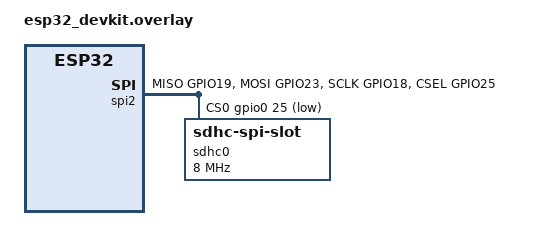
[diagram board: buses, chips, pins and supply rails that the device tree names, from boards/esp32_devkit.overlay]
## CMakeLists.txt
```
cmake_minimum_required(VERSION 3.20.0)

execute_process(
    COMMAND python ${CMAKE_CURRENT_LIST_DIR}/../scripts/generate_zephyr_overlay.py
            --config ${CMAKE_CURRENT_LIST_DIR}/../hardware_config.json
            --expert esp32
            --out ${CMAKE_CURRENT_LIST_DIR}/boards/generated.overlay
    RESULT_VARIABLE OVERLAY_GEN_RESULT
)
if(NOT OVERLAY_GEN_RESULT EQUAL 0)
    message(FATAL_ERROR "Failed to generate esp32_expert_logger devicetree overlay")
endif()

set(DTC_OVERLAY_FILE boards/generated.overlay)

find_package(Zephyr REQUIRED HINTS $ENV{ZEPHYR_BASE})

project(esp32_expert_logger)

target_include_directories(app PRIVATE ../common)
target_sources(app PRIVATE
    src/main.c
    ../common/dataset_commands.c
    ../common/uart_line_parser.c
    ../common/csv_logger.c
)
```

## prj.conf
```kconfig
# Zephyr config for esp32_expert_logger

CONFIG_SERIAL=y
CONFIG_CONSOLE=y
CONFIG_UART_CONSOLE=y
CONFIG_SHELL=y
CONFIG_SHELL_BACKEND_SERIAL=y
CONFIG_LOG=y
CONFIG_PRINTK=y

CONFIG_GPIO=y
CONFIG_I2C=y
CONFIG_SPI=y
CONFIG_ADC=y
CONFIG_SENSOR=y

CONFIG_DISK_ACCESS=y
CONFIG_DISK_DRIVER_SDMMC=y
CONFIG_FILE_SYSTEM=y
CONFIG_FAT_FILESYSTEM_ELM=y
CONFIG_FS_FATFS_LFN=y
CONFIG_SDHC=y
CONFIG_SDMMC_STACK=y

CONFIG_MAIN_STACK_SIZE=4096
CONFIG_HEAP_MEM_POOL_SIZE=8192

CONFIG_NEWLIB_LIBC=y
CONFIG_MINIMAL_LIBC=n
```

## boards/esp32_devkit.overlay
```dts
/* ESP32 DevKit overlay for ESP32 Expert Logger. */
/* SD: SCK GPIO18, MISO GPIO19, MOSI GPIO23, CS GPIO25. */
/* Enable esp32-health-uart after choosing UART pins for the main controller link. */

#include <zephyr/dt-bindings/pinctrl/esp32-pinctrl.h>

&pinctrl {
    esp32_health_spim2_default: esp32_health_spim2_default {
        group1 {
            pinmux = <SPIM2_MISO_GPIO19>,
                     <SPIM2_MOSI_GPIO23>,
                     <SPIM2_SCLK_GPIO18>,
                     <SPIM2_CSEL_GPIO25>;
        };
    };
};

&spi2 {
    status = "okay";
    cs-gpios = <&gpio0 25 GPIO_ACTIVE_LOW>;
    pinctrl-0 = <&esp32_health_spim2_default>;
    pinctrl-names = "default";

    sdhc0: sdhc@0 {
        compatible = "zephyr,sdhc-spi-slot";
        reg = <0>;
        status = "okay";
        spi-max-frequency = <8000000>;

        mmc {
            compatible = "zephyr,sdmmc-disk";
            disk-name = "SD";
            status = "okay";
        };
    };
};

/ {
    aliases {
        /* esp32-health-uart = &uart1; */
    };
};
```

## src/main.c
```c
#include "csv_logger.h"
#include "dataset_commands.h"
#include "uart_line_parser.h"

#include <errno.h>
#include <stdlib.h>
#include <string.h>
#include <zephyr/device.h>
#include <zephyr/kernel.h>
#include <zephyr/logging/log.h>
#include <zephyr/sys/printk.h>

LOG_MODULE_REGISTER(esp32_expert_logger, LOG_LEVEL_INF);

#define ROBOT_ID "porter_dev"
#define EXPERT_NAME "esp32_expert"
#define FAULT_SUBSYSTEM "esp32_controller"
#define LOG_PERIOD_MS 100
#define TELEMETRY_STALE_MS 500
#define UART_BUF_LEN 128
#define LINE_BUF_LEN 384
#define RESET_REASON_LEN 32

struct esp32_health {
	struct k_mutex lock;
	int heartbeat_counter;
	int heartbeat_interval_ms;
	char reset_reason[RESET_REASON_LEN];
	int watchdog_count;
	int packet_error_count;
	int task_loop_time_ms;
	int control_loop_jitter_ms;
	int64_t last_rx_ms;
};

static struct esp32_health telemetry;
static char uart_buffer[UART_BUF_LEN];
static struct uart_line_parser parser;

#if DT_NODE_HAS_STATUS(DT_ALIAS(esp32_health_uart), okay)
static const struct device *const telemetry_uart = DEVICE_DT_GET(DT_ALIAS(esp32_health_uart));
#else
static const struct device *const telemetry_uart;
#endif

static const struct dataset_config dataset_config = {
	.expert_name = EXPERT_NAME,
	.fault_subsystem = FAULT_SUBSYSTEM,
	.robot_id = ROBOT_ID,
	.raw_header = DATASET_COMMON_COLUMNS
		      ",heartbeat_counter,heartbeat_interval_ms,reset_reason,watchdog_count,"
		      "packet_error_count,task_loop_time_ms,control_loop_jitter_ms,uart_rx_errors,"
		      "telemetry_valid,telemetry_age_ms\n",
	.metadata_extra = "sample_period_ms=100\ntelemetry_stale_ms=500\n",
};

static int parse_int_token(char **saveptr, int *value)
{
	char *token = strtok_r(NULL, ",", saveptr);
	char *end;
	long parsed;

	if (token == NULL) {
		return -EINVAL;
	}
	parsed = strtol(token, &end, 10);
	if (*end != '\0') {
		return -EINVAL;
	}
	*value = (int)parsed;
	return 0;
}

static int parse_string_token(char **saveptr, char *value, size_t value_len)
{
	char *token = strtok_r(NULL, ",", saveptr);

	if (token == NULL || value_len == 0) {
		return -EINVAL;
	}

	for (size_t i = 0; token[i] != '\0'; i++) {
		char c = token[i];

		if (!((c >= 'a' && c <= 'z') || (c >= 'A' && c <= 'Z') ||
		      (c >= '0' && c <= '9') || c == '_' || c == '-')) {
			return -EINVAL;
		}
	}

	strncpy(value, token, value_len - 1);
	value[value_len - 1] = '\0';
	return 0;
}

static void handle_telemetry_line(const char *line, void *user_data)
{
	char local[UART_BUF_LEN];
	char *saveptr;
	char *prefix;
	struct esp32_health next;
	int64_t now = k_uptime_get();
	int64_t previous_rx;

	ARG_UNUSED(user_data);

	strncpy(local, line, sizeof(local) - 1);
	local[sizeof(local) - 1] = '\0';

	prefix = strtok_r(local, ",", &saveptr);
	if (prefix == NULL || strcmp(prefix, "ESP") != 0) {
		return;
	}

	if (parse_int_token(&saveptr, &next.heartbeat_counter) != 0 ||
	    parse_string_token(&saveptr, next.reset_reason, sizeof(next.reset_reason)) != 0 ||
	    parse_int_token(&saveptr, &next.watchdog_count) != 0 ||
	    parse_int_token(&saveptr, &next.packet_error_count) != 0 ||
	    parse_int_token(&saveptr, &next.task_loop_time_ms) != 0 ||
	    parse_int_token(&saveptr, &next.control_loop_jitter_ms) != 0) {
		LOG_WRN("Invalid ESP line");
		return;
	}

	k_mutex_lock(&telemetry.lock, K_FOREVER);
	previous_rx = telemetry.last_rx_ms;
	next.heartbeat_interval_ms = previous_rx > 0 ? (int)(now - previous_rx) : -1;
	next.last_rx_ms = now;
	telemetry = next;
	k_mutex_unlock(&telemetry.lock);
}

static void logger_thread(void)
{
	char line[LINE_BUF_LEN];
	struct dataset_snapshot snapshot;
	struct esp32_health sample;
	int64_t now;
	int age_ms;
	bool valid;
	int offset;

	while (true) {
		if (telemetry_uart != NULL) {
			uart_line_parser_poll(&parser);
		}

		k_sleep(K_MSEC(LOG_PERIOD_MS));

		if (!dataset_is_run_active()) {
			continue;
		}

		now = k_uptime_get();
		dataset_get_snapshot(&snapshot);

		k_mutex_lock(&telemetry.lock, K_FOREVER);
		sample = telemetry;
		k_mutex_unlock(&telemetry.lock);

		age_ms = sample.last_rx_ms > 0 ? (int)(now - sample.last_rx_ms) : -1;
		valid = age_ms >= 0 && age_ms <= TELEMETRY_STALE_MS;

		offset = dataset_write_common_prefix(line, sizeof(line), &snapshot, now);
		if (offset < 0 || offset >= (int)sizeof(line)) {
			continue;
		}

		csv_append_int(line, sizeof(line), &offset, valid ? sample.heartbeat_counter : -1);
		csv_append_int(line, sizeof(line), &offset, valid ? sample.heartbeat_interval_ms : -1);
		offset += snprintf(line + offset, sizeof(line) - offset, ",%s",
				   valid ? sample.reset_reason : "invalid");
		csv_append_int(line, sizeof(line), &offset, valid ? sample.watchdog_count : -1);
		csv_append_int(line, sizeof(line), &offset, valid ? sample.packet_error_count : -1);
		csv_append_int(line, sizeof(line), &offset, valid ? sample.task_loop_time_ms : -1);
		csv_append_int(line, sizeof(line), &offset, valid ? sample.control_loop_jitter_ms : -1);
		csv_append_int(line, sizeof(line), &offset, (int)uart_line_parser_errors(&parser));
		csv_append_bool(line, sizeof(line), &offset, valid);
		csv_append_int(line, sizeof(line), &offset, age_ms);
		snprintf(line + offset, sizeof(line) - offset, "\n");

		dataset_write_raw_line(line);
	}
}

K_THREAD_DEFINE(logger_tid, 4096, logger_thread, NULL, NULL, NULL, 5, 0, 0);

int main(void)
{
	int ret;

	k_mutex_init(&telemetry.lock);
	strncpy(telemetry.reset_reason, "unknown", sizeof(telemetry.reset_reason) - 1);

	printk("========================================\n");
	printk("ESP32 Expert Logger\n");
	printk("========================================\n");
	printk("UART format: ESP,heartbeat_counter,reset_reason,watchdog_count,packet_error_count,task_loop_time_ms,control_loop_jitter_ms\n");

	ret = dataset_init(&dataset_config);
	if (ret != 0) {
		LOG_ERR("SD storage is not ready: %d", ret);
	}

	if (telemetry_uart != NULL && device_is_ready(telemetry_uart)) {
		uart_line_parser_init(&parser, telemetry_uart, uart_buffer, sizeof(uart_buffer),
				      handle_telemetry_line, NULL);
		LOG_INF("ESP32 health UART ready");
	} else {
		LOG_WRN("No esp32-health-uart alias is enabled; telemetry will remain invalid");
	}

	return 0;
}
```
